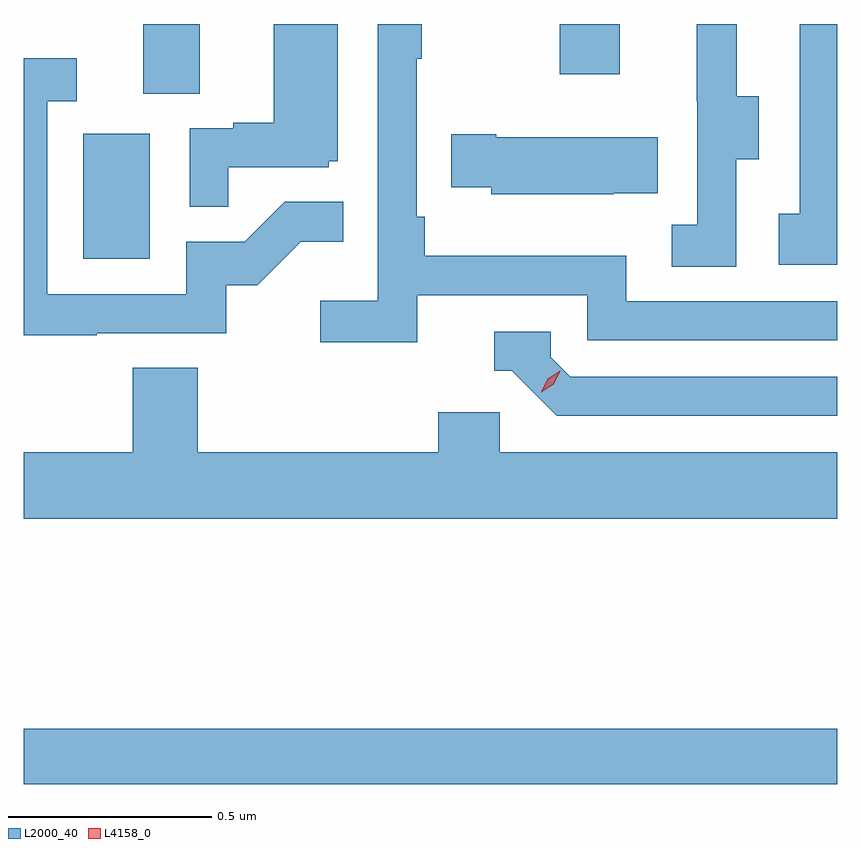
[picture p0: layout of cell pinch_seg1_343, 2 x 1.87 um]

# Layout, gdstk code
import gdstk
lib = gdstk.Library(unit=1e-6, precision=1e-09)
def R(c, l, rs):  # rectangles x0, y0, x1, y1
    for r in rs: c.add(gdstk.rectangle(r[:2], r[2:], *l))
def P(c, l, *ps):  # polygons
    for p in ps: c.add(gdstk.Polygon(p, *l))
L2000_40 = (2000, 40)
L4158_0 = (4158, 0)

pinch_seg1_343 = lib.new_cell('pinch_seg1_343')
R(pinch_seg1_343, L2000_40, [(994.122,545.752,996.122,545.888), (994.268,547.044,994.432,547.351), (994.415,547.45,994.555,547.621), (995.44,547.497,995.587,547.621)])
P(pinch_seg1_343, L2000_40, [(995.874,547.288),(995.929,547.288),(995.929,547.443),(995.875,547.443),(995.875,547.621),(995.777,547.621),(995.777,547.431),(995.778,547.431),(995.778,547.127),(995.715,547.127),(995.715,547.024),(995.874,547.024)],
  [(994.625,547.269),(994.872,547.269),(994.872,547.284),(994.894,547.284),(994.894,547.621),(994.736,547.621),(994.736,547.378),(994.637,547.378),(994.637,547.365),(994.53,547.365),(994.53,547.171),(994.625,547.171)],
  [(996.122,547.621),(996.03,547.621),(996.03,547.154),(995.979,547.154),(995.979,547.029),(996.122,547.029)],
  [(995.09,546.954),(995.508,546.954),(995.508,546.843),(996.122,546.843),(996.122,546.939),(995.604,546.939),(995.604,547.051),(995.108,547.051),(995.108,547.147),(995.088,547.147),(995.088,547.535),(995.101,547.535),(995.101,547.621),(994.992,547.621),(994.992,546.94),(994.851,546.94),(994.851,546.838),(995.09,546.838)],
  [(994.301,546.861),(994.62,546.861),(994.62,546.978),(994.696,546.978),(994.803,547.085),(994.907,547.085),(994.907,547.184),(994.763,547.184),(994.665,547.086),(994.521,547.086),(994.521,546.957),(994.179,546.957),(994.179,547.431),(994.252,547.431),(994.252,547.537),(994.122,547.537),(994.122,546.856),(994.301,546.856)],
  [(995.573,547.205),(995.681,547.205),(995.681,547.342),(995.284,547.342),(995.284,547.35),(995.173,547.35),(995.173,547.22),(995.271,547.22),(995.271,547.202),(995.573,547.202)],
  [(996.122,546.753),(995.466,546.753),(995.418,546.801),(995.418,546.864),(995.279,546.864),(995.279,546.768),(995.322,546.768),(995.433,546.657),(996.122,546.657)],
  [(996.122,546.568),(995.292,546.568),(995.292,546.666),(995.141,546.666),(995.141,546.568),(994.55,546.568),(994.55,546.776),(994.39,546.776),(994.39,546.568),(994.122,546.568),(994.122,546.404),(996.122,546.404)])
P(pinch_seg1_343, L4158_0, [(995.394,546.716),(995.394,546.716),(995.41,546.748),(995.441,546.768),(995.441,546.768),(995.441,546.767),(995.425,546.735),(995.394,546.716)])

lib.write_gds('pinch_seg1_343.gds')
